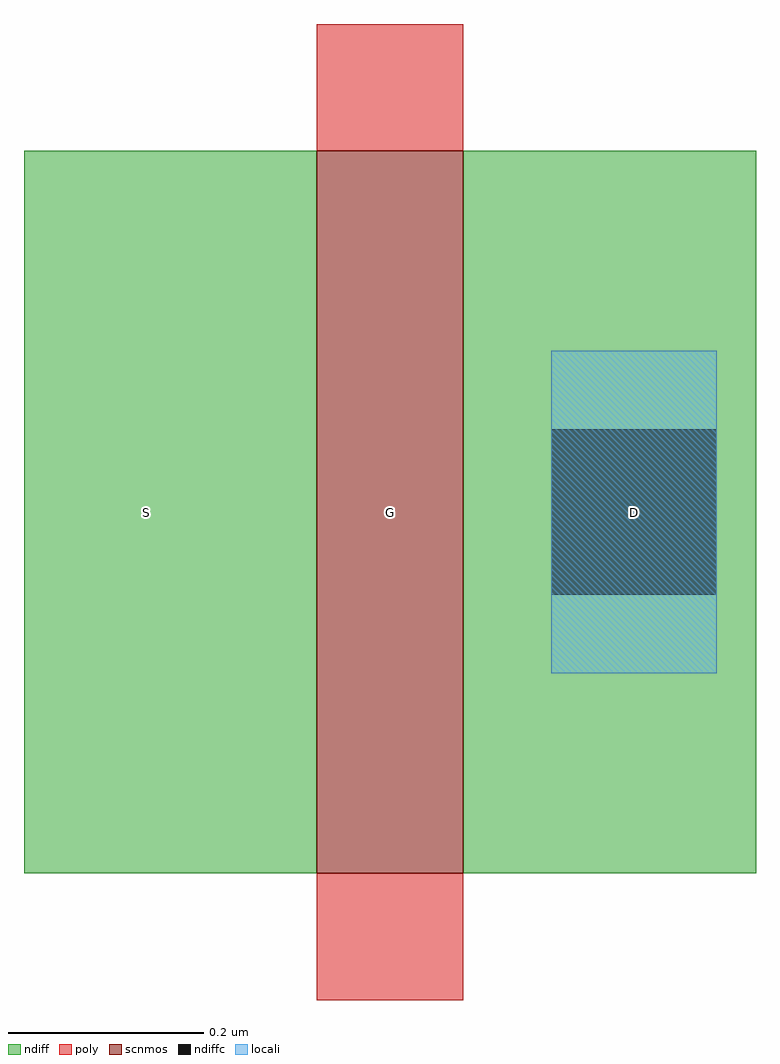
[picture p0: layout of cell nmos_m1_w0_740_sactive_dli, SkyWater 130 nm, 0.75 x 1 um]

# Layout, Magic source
magic
tech sky130A
magscale 1 2
<< scnmos >>
rect 60 0 90 148
<< ndiff >>
rect 0 0 60 148
rect 90 0 150 148
<< poly >>
rect 60 148 90 174
rect 60 -26 90 0
<< locali >>
rect 108 41 142 107
use contact_17  contact_17_0
transform 1 0 100 0 1 41
box 0 0 50 66
<< labels >>
rlabel poly s 75 74 75 74 4 G
rlabel mvpdiff s 25 74 25 74 4 S
rlabel corelocali s 125 74 125 74 4 D
<< properties >>
string FIXED_BBOX -25 -26 175 174
<< end >>

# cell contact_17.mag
magic
tech sky130A
<< ndiff >>
rect 0 25 25 31
rect 0 8 4 25
rect 21 8 25 25
rect 0 2 25 8
<< ndiffc >>
rect 4 8 21 25
<< locali >>
rect 4 25 21 33
rect 4 0 21 8
<< properties >>
string FIXED_BBOX -12 -10 37 43
<< end >>
